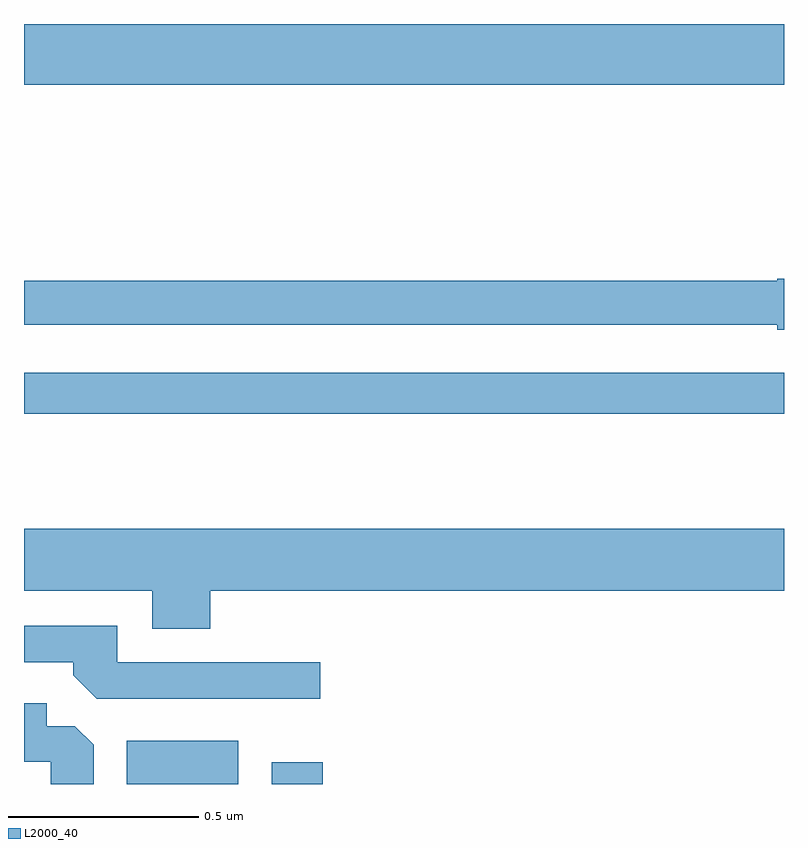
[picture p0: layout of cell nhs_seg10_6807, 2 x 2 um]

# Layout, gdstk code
import gdstk
lib = gdstk.Library(unit=1e-6, precision=1e-09)
def R(c, l, rs):  # rectangles x0, y0, x1, y1
    for r in rs: c.add(gdstk.rectangle(r[:2], r[2:], *l))
def P(c, l, *ps):  # polygons
    for p in ps: c.add(gdstk.Polygon(p, *l))
L2000_40 = (2000, 40)

nhs_seg10_6807 = lib.new_cell('nhs_seg10_6807')
R(nhs_seg10_6807, L2000_40, [(196.271,1274.5,196.564,1274.614), (196.652,1274.5,196.786,1274.557), (196,1275.474,198,1275.582), (196,1276.34,198,1276.5)])
P(nhs_seg10_6807, L2000_40, [(198,1275.83),(197.982,1275.83),(197.982,1275.824),(196,1275.824),(196,1275.708),(197.982,1275.708),(197.982,1275.695),(198,1275.695)],
  [(196.49,1275.008),(198,1275.008),(198,1275.172),(196,1275.172),(196,1275.008),(196.337,1275.008),(196.337,1274.909),(196.49,1274.909)],
  [(196.78,1274.82),(196.245,1274.82),(196.245,1274.916),(196,1274.916),(196,1274.82),(196.13,1274.82),(196.13,1274.786),(196.191,1274.724),(196.78,1274.724)],
  [(196.183,1274.603),(196.134,1274.652),(196.06,1274.652),(196.06,1274.713),(196,1274.713),(196,1274.559),(196.071,1274.559),(196.071,1274.5),(196.183,1274.5)])

lib.write_gds('nhs_seg10_6807.gds')
